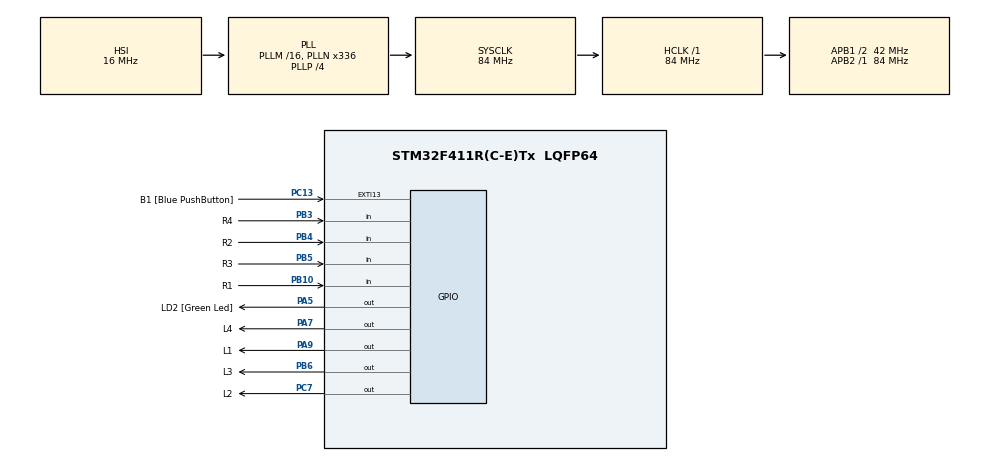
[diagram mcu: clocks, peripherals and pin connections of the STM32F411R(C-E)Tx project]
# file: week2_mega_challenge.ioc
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Mcu.Family=STM32F4
Mcu.Name=STM32F411R(C-E)Tx
Mcu.Package=LQFP64
NVIC.PriorityGroup=NVIC_PRIORITYGROUP_0
PA13.GPIO_Label=TMS
PA13.Signal=SYS_JTMS-SWDIO
PA14.GPIO_Label=TCK
PA14.Signal=SYS_JTCK-SWCLK
PA2.GPIO_Label=USART_TX
PA2.Signal=USART2_TX
PA3.GPIO_Label=USART_RX
PA3.Signal=USART2_RX
PA5.GPIO_Label=LD2 [Green Led]
PA5.Signal=GPIO_Output
PA7.GPIO_Label=L4
PA7.GPIO_ModeDefaultOutputPP=GPIO_MODE_OUTPUT_OD
PA7.GPIO_PuPd=GPIO_NOPULL
PA7.Signal=GPIO_Output
PA9.GPIO_Label=L1
PA9.GPIO_ModeDefaultOutputPP=GPIO_MODE_OUTPUT_OD
PA9.GPIO_PuPd=GPIO_NOPULL
PA9.Signal=GPIO_Output
PB10.GPIO_Label=R1
PB10.GPIO_Mode=GPIO_MODE_INPUT
PB10.GPIO_PuPd=GPIO_PULLUP
PB10.Signal=GPIO_Input
PB3.GPIO_Label=R4
PB3.GPIO_Mode=GPIO_MODE_INPUT
PB3.GPIO_PuPd=GPIO_PULLUP
PB3.Signal=GPIO_Input
PB4.GPIO_Label=R2
PB4.GPIO_Mode=GPIO_MODE_INPUT
PB4.GPIO_PuPd=GPIO_PULLUP
PB4.Signal=GPIO_Input
PB5.GPIO_Label=R3
PB5.GPIO_Mode=GPIO_MODE_INPUT
PB5.GPIO_PuPd=GPIO_PULLUP
PB5.Signal=GPIO_Input
PB6.GPIO_Label=L3
PB6.GPIO_ModeDefaultOutputPP=GPIO_MODE_OUTPUT_OD
PB6.GPIO_PuPd=GPIO_NOPULL
PB6.Signal=GPIO_Output
PC13-ANTI_TAMP.GPIO_Label=B1 [Blue PushButton]
PC13-ANTI_TAMP.GPIO_ModeDefaultEXTI=GPIO_MODE_IT_FALLING
PC13-ANTI_TAMP.Signal=GPXTI13
PC14-OSC32_IN.Signal=RCC_OSC32_IN
PC15-OSC32_OUT.Signal=RCC_OSC32_OUT
PC7.GPIO_Label=L2
PC7.GPIO_ModeDefaultOutputPP=GPIO_MODE_OUTPUT_OD
PC7.GPIO_PuPd=GPIO_NOPULL
PC7.Signal=GPIO_Output
PH0\ -\ OSC_IN.Signal=RCC_OSC_IN
PH1\ -\ OSC_OUT.Signal=RCC_OSC_OUT
ProjectManager.HeapSize=0x200
ProjectManager.StackSize=0x400
ProjectManager.TargetToolchain=STM32CubeIDE
RCC.48MHZClocksFreq_Value=84000000
RCC.AHBFreq_Value=84000000
RCC.APB1CLKDivider=RCC_HCLK_DIV2
RCC.APB1Freq_Value=42000000
RCC.APB1TimFreq_Value=84000000
RCC.APB2Freq_Value=84000000
RCC.APB2TimFreq_Value=84000000
RCC.CortexFreq_Value=84000000
RCC.FLatency-AdvancedSettings=FLASH_LATENCY_2
RCC.HCLKFreq_Value=84000000
RCC.HSE_VALUE=8000000
RCC.HSI_VALUE=16000000
RCC.LSE_VALUE=32768
RCC.PLLN=336
RCC.PLLP=RCC_PLLP_DIV4
RCC.SYSCLKFreq_VALUE=84000000
RCC.SYSCLKSource=RCC_SYSCLKSOURCE_PLLCLK
RCC.VCOOutputFreq_Value=336000000
board=NUCLEO-F411RE

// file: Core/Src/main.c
/* USER CODE BEGIN Header */
/**
  ******************************************************************************
  * @file           : main.c
  * @brief          : Main program body
  ******************************************************************************
  * @attention
  *
  * Copyright (c) 2022 STMicroelectronics.
  * All rights reserved.
  *
  * This software is licensed under terms that can be found in the LICENSE file
  * in the root directory of this software component.
  * If no LICENSE file comes with this software, it is provided AS-IS.
  *
  ******************************************************************************
  */
/* USER CODE END Header */
#include "main.h"

void SystemClock_Config(void);
static void MX_GPIO_Init(void);
/* USER CODE BEGIN PFP */
void ButtonMatrixRead();
/* USER CODE END PFP */

int main(void)
{

  /* MCU Configuration--------------------------------------------------------*/

  /* Reset of all peripherals, Initializes the Flash interface and the Systick. */
  HAL_Init();

  /* Configure the system clock */
  SystemClock_Config();

  /* Initialize all configured peripherals */
  MX_GPIO_Init();

  /* Infinite loop */
  while (1)
  {
	  ButtonMatrixRead();
  }
}

void SystemClock_Config(void)
{
  RCC_OscInitTypeDef RCC_OscInitStruct = {0};
  RCC_ClkInitTypeDef RCC_ClkInitStruct = {0};

  /** Configure the main internal regulator output voltage
  */
  __HAL_RCC_PWR_CLK_ENABLE();
  __HAL_PWR_VOLTAGESCALING_CONFIG(PWR_REGULATOR_VOLTAGE_SCALE1);
  /** Initializes the RCC Oscillators according to the specified parameters
  * in the RCC_OscInitTypeDef structure.
  */
  RCC_OscInitStruct.OscillatorType = RCC_OSCILLATORTYPE_HSI;
  RCC_OscInitStruct.HSIState = RCC_HSI_ON;
  RCC_OscInitStruct.HSICalibrationValue = RCC_HSICALIBRATION_DEFAULT;
  RCC_OscInitStruct.PLL.PLLState = RCC_PLL_ON;
  RCC_OscInitStruct.PLL.PLLSource = RCC_PLLSOURCE_HSI;
  RCC_OscInitStruct.PLL.PLLM = 16;
  RCC_OscInitStruct.PLL.PLLN = 336;
  RCC_OscInitStruct.PLL.PLLP = RCC_PLLP_DIV4;
  RCC_OscInitStruct.PLL.PLLQ = 4;
  if (HAL_RCC_OscConfig(&RCC_OscInitStruct) != HAL_OK)
  {
    Error_Handler();
  }
  /** Initializes the CPU, AHB and APB buses clocks
  */
  RCC_ClkInitStruct.ClockType = RCC_CLOCKTYPE_HCLK|RCC_CLOCKTYPE_SYSCLK
                              |RCC_CLOCKTYPE_PCLK1|RCC_CLOCKTYPE_PCLK2;
  RCC_ClkInitStruct.SYSCLKSource = RCC_SYSCLKSOURCE_PLLCLK;
  RCC_ClkInitStruct.AHBCLKDivider = RCC_SYSCLK_DIV1;
  RCC_ClkInitStruct.APB1CLKDivider = RCC_HCLK_DIV2;
  RCC_ClkInitStruct.APB2CLKDivider = RCC_HCLK_DIV1;

  if (HAL_RCC_ClockConfig(&RCC_ClkInitStruct, FLASH_LATENCY_2) != HAL_OK)
  {
    Error_Handler();
  }
}

static void MX_GPIO_Init(void)
{
  GPIO_InitTypeDef GPIO_InitStruct = {0};

  /* GPIO Ports Clock Enable */
  __HAL_RCC_GPIOC_CLK_ENABLE();
  __HAL_RCC_GPIOH_CLK_ENABLE();
  __HAL_RCC_GPIOA_CLK_ENABLE();
  __HAL_RCC_GPIOB_CLK_ENABLE();

  /*Configure GPIO pin Output Level */
  HAL_GPIO_WritePin(GPIOA, LD2_Pin|L4_Pin|L1_Pin, GPIO_PIN_RESET);

  /*Configure GPIO pin Output Level */
  HAL_GPIO_WritePin(L2_GPIO_Port, L2_Pin, GPIO_PIN_RESET);

  /*Configure GPIO pin Output Level */
  HAL_GPIO_WritePin(L3_GPIO_Port, L3_Pin, GPIO_PIN_RESET);

  /*Configure GPIO pin : B1_Pin */
  GPIO_InitStruct.Pin = B1_Pin;
  GPIO_InitStruct.Mode = GPIO_MODE_IT_FALLING;
  GPIO_InitStruct.Pull = GPIO_NOPULL;
  HAL_GPIO_Init(B1_GPIO_Port, &GPIO_InitStruct);

  /*Configure GPIO pins : USART_TX_Pin USART_RX_Pin */
  GPIO_InitStruct.Pin = USART_TX_Pin|USART_RX_Pin;
  GPIO_InitStruct.Mode = GPIO_MODE_AF_PP;
  GPIO_InitStruct.Pull = GPIO_NOPULL;
  GPIO_InitStruct.Speed = GPIO_SPEED_FREQ_VERY_HIGH;
  GPIO_InitStruct.Alternate = GPIO_AF7_USART2;
  HAL_GPIO_Init(GPIOA, &GPIO_InitStruct);

  /*Configure GPIO pin : LD2_Pin */
  GPIO_InitStruct.Pin = LD2_Pin;
  GPIO_InitStruct.Mode = GPIO_MODE_OUTPUT_PP;
  GPIO_InitStruct.Pull = GPIO_NOPULL;
  GPIO_InitStruct.Speed = GPIO_SPEED_FREQ_LOW;
  HAL_GPIO_Init(LD2_GPIO_Port, &GPIO_InitStruct);

  /*Configure GPIO pins : L4_Pin L1_Pin */
  GPIO_InitStruct.Pin = L4_Pin|L1_Pin;
  GPIO_InitStruct.Mode = GPIO_MODE_OUTPUT_OD;
  GPIO_InitStruct.Pull = GPIO_NOPULL;
  GPIO_InitStruct.Speed = GPIO_SPEED_FREQ_LOW;
  HAL_GPIO_Init(GPIOA, &GPIO_InitStruct);

  /*Configure GPIO pins : R1_Pin R4_Pin R2_Pin R3_Pin */
  GPIO_InitStruct.Pin = R1_Pin|R4_Pin|R2_Pin|R3_Pin;
  GPIO_InitStruct.Mode = GPIO_MODE_INPUT;
  GPIO_InitStruct.Pull = GPIO_PULLUP;
  HAL_GPIO_Init(GPIOB, &GPIO_InitStruct);

  /*Configure GPIO pin : L2_Pin */
  GPIO_InitStruct.Pin = L2_Pin;
  GPIO_InitStruct.Mode = GPIO_MODE_OUTPUT_OD;
  GPIO_InitStruct.Pull = GPIO_NOPULL;
  GPIO_InitStruct.Speed = GPIO_SPEED_FREQ_LOW;
  HAL_GPIO_Init(L2_GPIO_Port, &GPIO_InitStruct);

  /*Configure GPIO pin : L3_Pin */
  GPIO_InitStruct.Pin = L3_Pin;
  GPIO_InitStruct.Mode = GPIO_MODE_OUTPUT_OD;
  GPIO_InitStruct.Pull = GPIO_NOPULL;
  GPIO_InitStruct.Speed = GPIO_SPEED_FREQ_LOW;
  HAL_GPIO_Init(L3_GPIO_Port, &GPIO_InitStruct);

}

/* USER CODE BEGIN 4 */
GPIO_TypeDef* BTRport[4] = {R1_GPIO_Port, R2_GPIO_Port, R3_GPIO_Port, R4_GPIO_Port};
uint16_t BTRpin[4] = {R1_Pin, R2_Pin, R3_Pin, R4_Pin};

GPIO_TypeDef* BTLport[4] = {L1_GPIO_Port, L2_GPIO_Port, L3_GPIO_Port, L4_GPIO_Port};
uint16_t BTLpin[4] = {L1_Pin, L2_Pin, L3_Pin, L4_Pin};

uint8_t pos = 0;
uint8_t num = 0;
uint8_t key = 0;
uint8_t input = 0;
uint8_t check = 0;
uint8_t count = 0;
uint8_t status = 0;
uint8_t pass[32] = {0};

void ButtonMatrixRead(){

	static uint8_t L = 0;
	static uint32_t timeStamp = 0;
	if (HAL_GetTick() - timeStamp >= 100){
		timeStamp = HAL_GetTick();

		if (status == 0){
			for (int i = 0; i<4; i++){
				pos = i + (l*4);
				if ((count == 4)&&(pos == 15)){
					HAL_GPIO_WritePin(LD2_GPIO_Port, LD2_Pin, GPIO_PIN_SET);
					status = 1;
					key = 1;
				}
				else if (pos == 3){
					L = 0;
					count = 0;
				}
				else if ((pos!=7)&&(pos!=11)&&(pos!=13)&&(pos!=14)){
					pass[count] = pos;
					count += 1;
				}
			}

			HAL_GPIO_WritePin(BTLport[L], BTLpin[L], GPIO_PIN_SET);
			uint8_t L_p = (L+1)%4;
			HAL_GPIO_WritePin(BTLport[L_p], BTLpin[L_p], GPIO_PIN_RESET);
			L = L_p;
		}

		else if ((status == 1)&&(key == 1)){
			for (int i = 0; i<4; i++){
				pos = i + (l*4);
				if (pos == 3){
					L = 0;
					count = 0;
				}
				else if (pos == 15){
					if (input != count){
						while (1);{
							if (HAL_GetTick()-timeStamp >= 250){
								timeStamp = HAL_GetTick();
								HAL_GPIO_TogglePin(LD2_GPIO_Port, LD2_Pin);
							}
							if (HAL_GetTick()-timeStamp >= 2000){
								timeStamp = HAL_GetTick();
								HAL_GPIO_WritePin(LD2_GPIO_Port, LD2_Pin, GPIO_PIN_SET);
								break;
							}
						}
					}
					else{
						HAL_GPIO_WritePin(LD2_GPIO_Port, LD2_Pin, GPIO_PIN_RESET);
					}

				}
				else if ((pos!=7)&&(pos!=11)&&(pos!=13)&&(pos!=14)){
					if (pass[input] == pos){
						input += 1;
					}
					else{
						while (1);{
							if (HAL_GetTick()-timeStamp >= 250){
								timeStamp = HAL_GetTick();
								HAL_GPIO_TogglePin(LD2_GPIO_Port, LD2_Pin);
							}
							if (HAL_GetTick()-timeStamp >= 2000){
								timeStamp = HAL_GetTick();
								HAL_GPIO_WritePin(LD2_GPIO_Port, LD2_Pin, GPIO_PIN_SET);
								break;
							}
						}
					}
				}

			}

			HAL_GPIO_WritePin(BTLport[L], BTLpin[L], GPIO_PIN_SET);
			uint8_t L_p = (L+1)%4;
			HAL_GPIO_WritePin(BTLport[L_p], BTLpin[L_p], GPIO_PIN_RESET);
			L = L_p;
		}

		else if ((status == 1)&&(key == 0)){

			HAL_GPIO_WritePin(BTLport[L], BTLpin[L], GPIO_PIN_SET);
			uint8_t L_p = (L+1)%4;
			HAL_GPIO_WritePin(BTLport[L_p], BTLpin[L_p], GPIO_PIN_RESET);
			L = L_p;
		}

	}
}
/* USER CODE END 4 */

void Error_Handler(void)
{
  __disable_irq();
  while (1)
  {
  }
}
